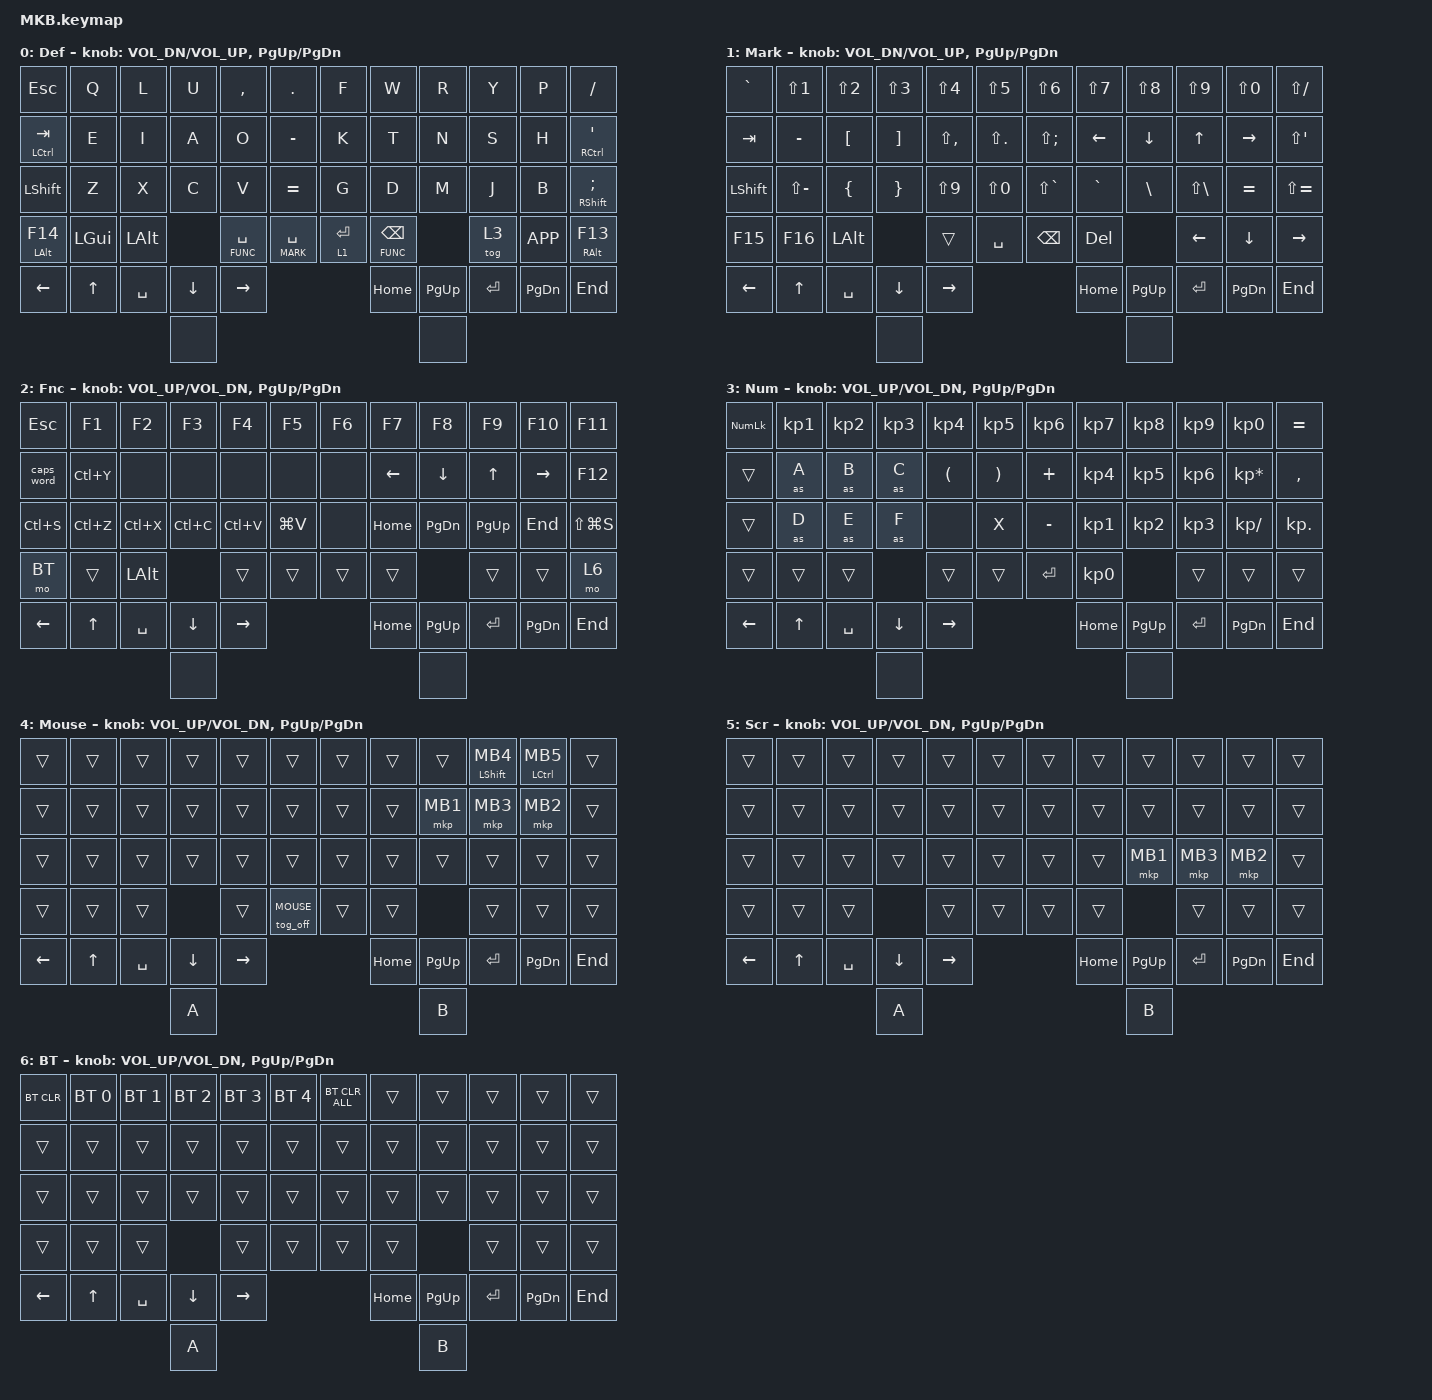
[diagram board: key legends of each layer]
// #include <layout_shift.dtsi>

#include <layout_shift_kp_override.dtsi>
#include <behaviors.dtsi>
#include <dt-bindings/zmk/bt.h>
#include <dt-bindings/zmk/keys.h>
#include <dt-bindings/zmk/pointing.h>

#define DEF 0
#define MARK 1
#define FUNC 2
#define NUM 3
#define MOUSE 4
#define SCROLL 5
#define BT6

&mt {
    flavor = "balanced";
    tapping-term-ms = <280>;
    quick-tap-ms = <175>;
    require-prior-idle-ms = <150>;
};

// キー入力から300ms間はAMLを抑制(AML誤発動防止)

&zip_temp_layer {
      excluded-positions = <
        10 // F(Prev)
        11 // W(Next)
        20 // S(左クリック)
        21 // H(中クリック)  
        22 // "(右クリック)
        24 // Shift
    >;

   require-prior-idle-ms = <400>; };

/**************************************************************************/

/ {
    combos {
        compatible = "zmk,combos";

        combo_tab {
            bindings = <&kp TAB>;
            key-positions = <12 13>;
        };

        mo_scroll {
            bindings = <&mo 1>;
            key-positions = <33 32>;
        };

        mo_scroll2 {
            bindings = <&mo 1>;
            key-positions = <16 15>;
        };

        alt_space {
            bindings = <&kp LA(SPACE)>;
            key-positions = <40 41>;
        };

        combo_capslock {
            bindings = <&kp CAPS>;
            key-positions = <12 13 14>;
        };

        toggle_IME {
            bindings = <&kp LC(SPACE)>;
            key-positions = <36 45>;
        };

        LWin {
            bindings = <&kp LEFT_GUI>;
            key-positions = <24 36>;
        };

        Mo_Num {
            bindings = <&mo 3>;
            key-positions = <39 40>;
        };
    };

    /**************************************************************************/

    macros {
        // for Auto Shift

        shifted: macro_shifted_kp {
            #binding-cells = <1>;
            label = "MACRO_SHIFTED_KP";
            compatible = "zmk,behavior-macro-one-param";
            bindings =
                <&macro_press>,
                <&kp LSHFT &macro_param_1to1>,
                <&macro_tap>,
                <&kp MACRO_PLACEHOLDER>,
                <&macro_release>,
                <&kp LSHFT>;
        };

        as: autoshift {
            compatible = "zmk,behavior-macro-one-param";
            #binding-cells = <1>;
            label = "AUTOSHIFT_KP";
            bindings =
                <&macro_press>,
                <&macro_param_1to1 &macro_param_1to2 &as_ht MACRO_PLACEHOLDER MACRO_PLACEHOLDER>,
                <&macro_pause_for_release>,
                <&macro_release>,
                <&macro_param_1to1 &macro_param_1to2 &as_ht MACRO_PLACEHOLDER MACRO_PLACEHOLDER>;
        };
    };

    /**************************************************************************/

    behaviors {
        td_bspc: tap_dance_0 {
            compatible = "zmk,behavior-tap-dance";
            #binding-cells = <0>;
            tapping-term-ms = <200>;
            bindings = <&lt FUNC BSPC>, <&kp BSPC>;
        };

        td_spc: tap_dance_1 {
            compatible = "zmk,behavior-tap-dance";
            #binding-cells = <0>;
            tapping-term-ms = <200>;
            bindings = <&lt FUNC SPACE>, <&kp SPACE>;
        };

        mouse_scroll: mouse_wheel_scroll {
            compatible = "zmk,behavior-sensor-rotate-var";
            #sensor-binding-cells = <2>;
            bindings = <&msc>, <&msc>;

            tap-ms = <25>;
        };

        mod_mkp: mod_mkp {
            compatible = "zmk,behavior-hold-tap";
            label = "MOD_MKP";
            bindings = <&kp>, <&mkp>;

            #binding-cells = <2>;
            tapping-term-ms = <150>;
        };

        as_ht: autoshift_hold_tap {
            compatible = "zmk,behavior-hold-tap";
            label = "AUTOSHIFT_HOLD_TAP";
            #binding-cells = <2>;
            tapping_term_ms = <180>;
            quick_tap_ms = <0>;
            flavor = "tap-preferred";
            bindings = <&shifted>, <&kp>;
        };

        tog_off: toggle_layer_off {
            compatible = "zmk,behavior-toggle-layer";
            #binding-cells = <1>;
            display-name = "Toggle Layer Off";
            toggle-mode = "off";
        };

        ime_alt: ime_alt {
            compatible = "zmk,behavior-hold-tap";
            label = "IME_ALT";
            bindings = <&kp>, <&kp>;

            #binding-cells = <2>;
            tapping-term-ms = <200>;
            flavor = "tap-preferred";
        };

        tog_on: tog_layer_on {
            compatible = "zmk,behavior-toggle-layer";
            #binding-cells = <1>;
            display-name = "Toggle Layer Off";
            toggle-mode = "on";
            label = "TOG_ON";
        };
    };

    /**************************************************************************/

    keymap {
        compatible = "zmk,keymap";

        default_layer {
            label = "Def";
            bindings = <
&kp ESC            &kp Q     &kp L      &kp U     &kp COMMA       &kp PERIOD          &kp F      &kp W               &kp R      &kp Y      &kp P      &kp SLASH
&mt LCTRL TAB      &kp E     &kp I      &kp A     &kp O           &kp MINUS           &kp K      &kp T               &kp N      &kp S      &kp H      &mt RCTRL SQT
&kp LSHFT          &kp Z     &kp X      &kp C     &kp V           &kp EQUAL           &kp G      &kp D               &kp M      &kp J      &kp B      &mt RSHFT SEMI
&ime_alt LALT F14  &kp LGUI  &kp LALT             &lt FUNC SPACE  &lt MARK SPACE      &lt 1 RET  &lt FUNC BACKSPACE             &tog 3     &kp K_APP  &ime_alt RALT F13
&kp LEFT           &kp UP    &kp SPACE  &kp DOWN  &kp RIGHT                                      &kp HOME            &kp PG_UP  &kp ENTER  &kp PG_DN  &kp END
                                        &none                                                                        &none
            >;

            sensor-bindings = <&inc_dec_kp C_VOL_DN  C_VOL_UP &inc_dec_kp PG_UP PG_DN>;
        };

        mark_layer {
            label = "Mark";
            bindings = <
&kp GRAVE  &kp LS(N1)     &kp LS(N2)  &kp LS(N3)  &kp LS(N4)     &kp LS(N5)          &kp LS(N6)     &kp LS(N7)  &kp LS(N8)  &kp LS(N9)    &kp LS(N0)  &kp LS(SLASH)
&kp TAB    &kp MINUS      &kp LBKT    &kp RBKT    &kp LS(COMMA)  &kp LS(PERIOD)      &kp LS(SEMI)   &kp LEFT    &kp DOWN    &kp UP        &kp RIGHT   &kp LS(SQT)
&kp LSHFT  &kp LS(MINUS)  &kp LBRC    &kp RBRC    &kp LS(N9)     &kp LS(N0)          &kp LS(GRAVE)  &kp GRAVE   &kp BSLH    &kp LS(BSLH)  &kp EQUAL   &kp LS(EQUAL)
&kp F15    &kp F16        &kp LALT                &trans         &kp SPACE           &kp BACKSPACE  &kp DEL                 &kp LEFT      &kp DOWN    &kp RIGHT
&kp LEFT   &kp UP         &kp SPACE   &kp DOWN    &kp RIGHT                                         &kp HOME    &kp PG_UP   &kp ENTER     &kp PG_DN   &kp END
                                      &none                                                                     &none
            >;

            sensor-bindings = <&inc_dec_kp C_VOL_DN  C_VOL_UP &inc_dec_kp PG_UP PG_DN>;
        };

        function_layer {
            label = "Fnc";
            bindings = <
&kp ESC     &kp F1     &kp F2     &kp F3     &kp F4     &kp F5         &kp F6  &kp F7    &kp F8     &kp F9     &kp F10    &kp F11
&caps_word  &kp LC(Y)  &none      &none      &none      &none          &none   &kp LEFT  &kp DOWN   &kp UP     &kp RIGHT  &kp F12
&kp LC(S)   &kp LC(Z)  &kp LC(X)  &kp LC(C)  &kp LC(V)  &kp LG(V)      &none   &kp HOME  &kp PG_DN  &kp PG_UP  &kp END    &kp LS(LG(S))
&mo BT      &trans     &kp LALT              &trans     &trans         &trans  &trans               &trans     &trans     &mo 6
&kp LEFT    &kp UP     &kp SPACE  &kp DOWN   &kp RIGHT                         &kp HOME  &kp PG_UP  &kp ENTER  &kp PG_DN  &kp END
                                  &none                                                  &none
            >;

            sensor-bindings = <&inc_dec_kp C_VOL_UP C_VOL_DN &inc_dec_kp PG_UP PG_DN>;
        };

        num_layer {
            label = "Num";
            bindings = <
&kp KP_NUM  &kp KP_N1  &kp KP_N2  &kp KP_N3  &kp KP_N4             &kp KP_N5                  &kp KP_N6  &kp KP_N7  &kp KP_N8  &kp KP_N9  &kp KP_N0        &kp EQUAL
&trans      &as A      &as B      &as C      &kp LEFT_PARENTHESIS  &kp RIGHT_PARENTHESIS      &kp PLUS   &kp KP_N4  &kp KP_N5  &kp KP_N6  &kp KP_ASTERISK  &kp COMMA
&trans      &as D      &as E      &as F      &none                 &kp X                      &kp MINUS  &kp KP_N1  &kp KP_N2  &kp KP_N3  &kp KP_SLASH     &kp KP_DOT
&trans      &trans     &trans                &trans                &trans                     &kp ENTER  &kp KP_N0             &trans     &trans           &trans
&kp LEFT    &kp UP     &kp SPACE  &kp DOWN   &kp RIGHT                                                   &kp HOME   &kp PG_UP  &kp ENTER  &kp PG_DN        &kp END
                                  &none                                                                             &none
            >;

            sensor-bindings = <&inc_dec_kp C_VOL_UP C_VOL_DN &inc_dec_kp PG_UP PG_DN>;
        };

        mouse_layer {
            label = "Mouse";
            bindings = <
&trans    &trans  &trans     &trans    &trans     &trans                &trans  &trans    &trans     &mod_mkp LSHIFT MB4  &mod_mkp LCTRL MB5  &trans
&trans    &trans  &trans     &trans    &trans     &trans                &trans  &trans    &mkp MB1   &mkp MB3             &mkp MB2            &trans
&trans    &trans  &trans     &trans    &trans     &trans                &trans  &trans    &trans     &trans               &trans              &trans
&trans    &trans  &trans               &trans     &tog_off MOUSE        &trans  &trans               &trans               &trans              &trans
&kp LEFT  &kp UP  &kp SPACE  &kp DOWN  &kp RIGHT                      &kp HOME  &kp PG_UP  &kp ENTER            &kp PG_DN           &kp END
                             &kp A                                              &kp B
            >;

            sensor-bindings = <&inc_dec_kp C_VOL_UP C_VOL_DN &inc_dec_kp PG_UP PG_DN>;
        };

        scroll_layer {
            label = "Scr";
            bindings = <
&trans    &trans  &trans     &trans    &trans     &trans      &trans  &trans    &trans     &trans     &trans     &trans
&trans    &trans  &trans     &trans    &trans     &trans      &trans  &trans    &trans     &trans     &trans     &trans
&trans    &trans  &trans     &trans    &trans     &trans      &trans  &trans    &mkp MB1   &mkp MB3   &mkp MB2   &trans
&trans    &trans  &trans               &trans     &trans      &trans  &trans               &trans     &trans     &trans
&kp LEFT  &kp UP  &kp SPACE  &kp DOWN  &kp RIGHT                      &kp HOME  &kp PG_UP  &kp ENTER  &kp PG_DN  &kp END
                             &kp A                                              &kp B
            >;

            sensor-bindings = <&inc_dec_kp C_VOL_UP C_VOL_DN &inc_dec_kp PG_UP PG_DN>;
        };

        bt_layer {
            label = "BT";
            bindings = <
&bt BT_CLR  &bt BT_SEL 0  &bt BT_SEL 1  &bt BT_SEL 2  &bt BT_SEL 3  &bt BT_SEL 4      &bt BT_CLR_ALL  &trans    &trans     &trans     &trans     &trans
&trans      &trans        &trans        &trans        &trans        &trans            &trans          &trans    &trans     &trans     &trans     &trans
&trans      &trans        &trans        &trans        &trans        &trans            &trans          &trans    &trans     &trans     &trans     &trans
&trans      &trans        &trans                      &trans        &trans            &trans          &trans               &trans     &trans     &trans
&kp LEFT    &kp UP        &kp SPACE     &kp DOWN      &kp RIGHT                                       &kp HOME  &kp PG_UP  &kp ENTER  &kp PG_DN  &kp END
                                        &kp A                                                                   &kp B
            >;

            sensor-bindings = <&inc_dec_kp C_VOL_UP C_VOL_DN &inc_dec_kp PG_UP PG_DN>;
        };
    };
};
